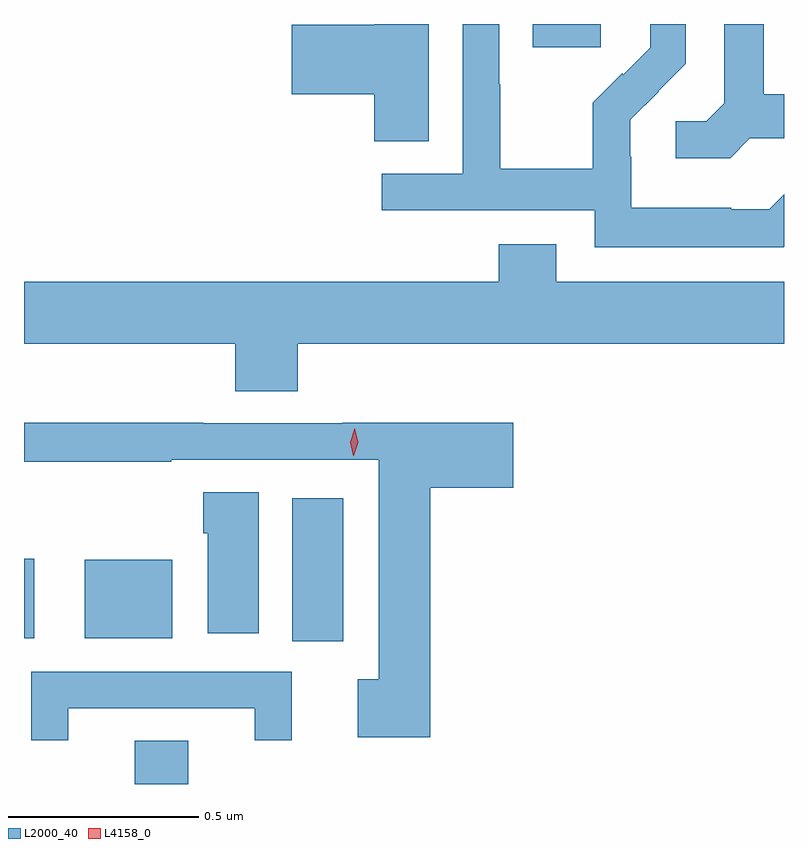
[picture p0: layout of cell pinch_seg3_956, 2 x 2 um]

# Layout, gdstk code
import gdstk
lib = gdstk.Library(unit=1e-6, precision=1e-09)
def R(c, l, rs):  # rectangles x0, y0, x1, y1
    for r in rs: c.add(gdstk.rectangle(r[:2], r[2:], *l))
def P(c, l, *ps):  # polygons
    for p in ps: c.add(gdstk.Polygon(p, *l))
L2000_40 = (2000, 40)
L4158_0 = (4158, 0)

pinch_seg3_956 = lib.new_cell('pinch_seg3_956')
R(pinch_seg3_956, L2000_40, [(590.072,707.75,590.212,707.864), (590.486,708.126,590.62,708.502), (589.78,708.134,589.807,708.343), (589.94,708.134,590.17,708.34), (591.119,709.689,591.298,709.75)])
P(pinch_seg3_956, L2000_40, [(590.845,709.75),(590.702,709.75),(590.702,709.748),(590.484,709.748),(590.484,709.565),(590.702,709.565),(590.702,709.441),(590.845,709.441)],
  [(591.69,709.449),(591.78,709.449),(591.78,709.565),(591.727,709.565),(591.727,709.75),(591.623,709.75),(591.623,709.541),(591.576,709.494),(591.495,709.494),(591.495,709.397),(591.638,709.397)],
  [(591.78,709.164),(591.78,709.302),(591.741,709.263),(591.641,709.263),(591.641,709.267),(591.378,709.267),(591.378,709.401),(591.376,709.401),(591.376,709.498),(591.45,709.572),(591.449,709.573),(591.522,709.646),(591.522,709.75),(591.428,709.75),(591.428,709.688),(591.357,709.617),(591.354,709.62),(591.277,709.543),(591.277,709.369),(591.033,709.369),(591.033,709.592),(591.03,709.592),(591.03,709.75),(590.934,709.75),(590.934,709.356),(590.721,709.356),(590.721,709.26),(591.282,709.26),(591.282,709.163),(591.779,709.163)],
  [(590.501,708.908),(591.78,708.908),(591.78,709.072),(591.181,709.072),(591.181,709.171),(591.029,709.171),(591.029,709.072),(589.78,709.072),(589.78,708.908),(590.336,708.908),(590.336,708.784),(590.501,708.784)],
  [(590.849,708.53),(591.067,708.53),(591.067,708.701),(590.618,708.701),(590.618,708.699),(590.252,708.699),(590.252,708.701),(589.78,708.701),(589.78,708.598),(590.168,708.598),(590.168,708.603),(590.714,708.603),(590.714,708.026),(590.658,708.026),(590.658,707.873),(590.849,707.873)],
  [(590.398,708.518),(590.252,708.518),(590.252,708.41),(590.264,708.41),(590.264,708.147),(590.398,708.147)],
  [(589.897,707.949),(590.387,707.949),(590.387,707.865),(590.485,707.865),(590.485,708.045),(589.799,708.045),(589.799,707.865),(589.897,707.865)])
P(pinch_seg3_956, L4158_0, [(590.647,708.614),(590.647,708.614),(590.639,708.65),(590.65,708.686),(590.65,708.686),(590.65,708.686),(590.659,708.65),(590.648,708.614)])

lib.write_gds('pinch_seg3_956.gds')
